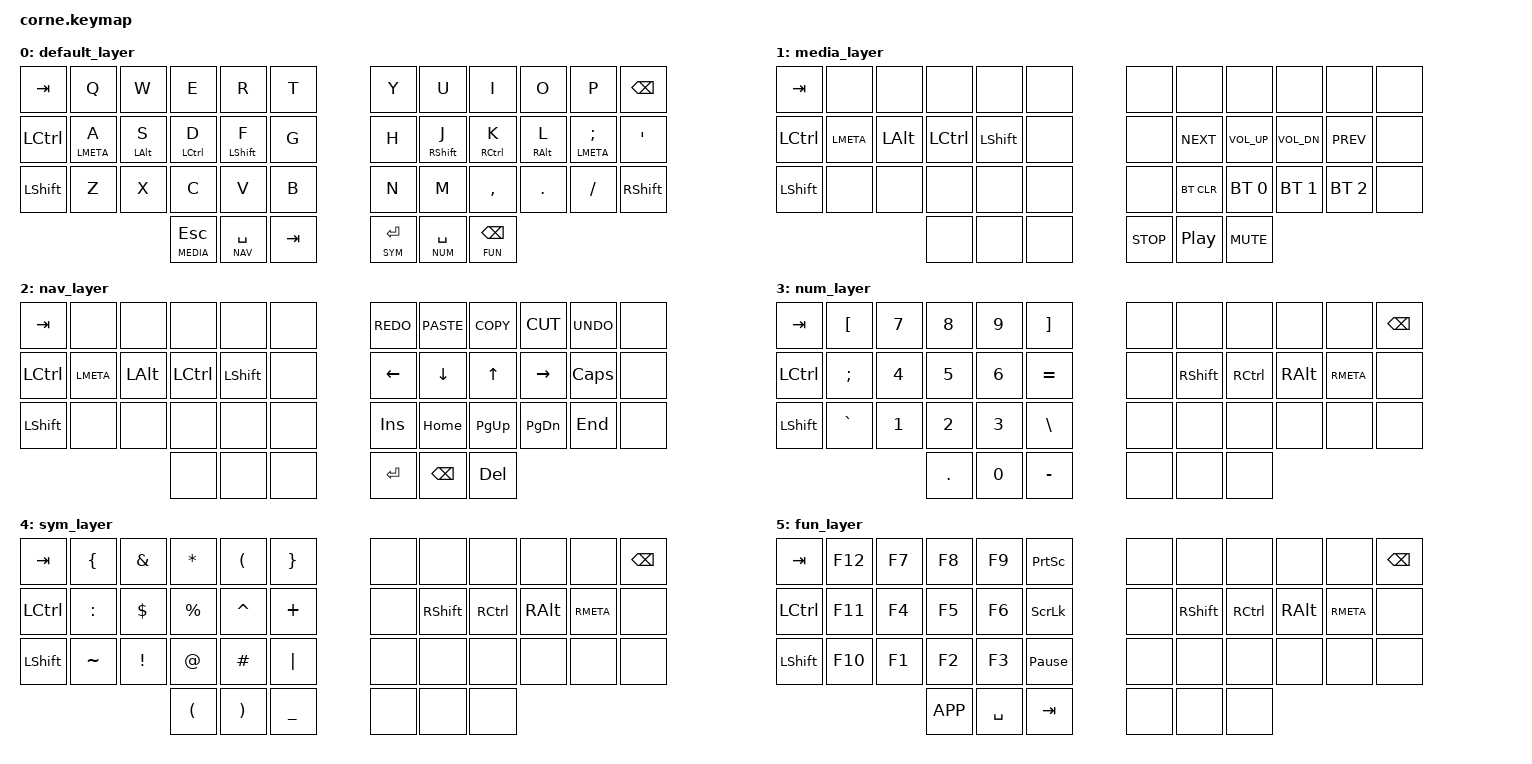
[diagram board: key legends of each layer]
/*
 * Copyright (c) 2020 The ZMK Contributors
 *
 * SPDX-License-Identifier: MIT
 */

#include <behaviors.dtsi>
#include <dt-bindings/zmk/keys.h>
#include <dt-bindings/zmk/bt.h>

#define MEDIA 1
#define NAV 2
#define NUM 3
#define SYM 4
#define FUN 5
#define U_TAPPING_TERM 200

/ {
      behaviors {
          u_mt: u_mt {
            compatible = "zmk,behavior-hold-tap";
            label = "u_mt";
            #binding-cells = <2>;
            tapping_term_ms = <U_TAPPING_TERM>;
            flavor = "tap-preferred";
            bindings = <&kp>, <&kp>;
          };
          u_lt: u_lt {
            compatible = "zmk,behavior-hold-tap";
            label = "u_lt";
            #binding-cells = <2>;
            tapping_term_ms = <U_TAPPING_TERM>;
            flavor = "tap-preferred";
            bindings = <&mo>, <&kp>;
          };
        };

        keymap {
                compatible = "zmk,keymap";

                default_layer {
// -----------------------------------------------------------------------------------------
// |  TAB |  Q  |  W  |  E  |  R  |  T  |   |  Y  |  U   |  I  |  O  |  P  | BKSP |
// | CTRL |  A  |  S  |  D  |  F  |  G  |   |  H  |  J   |  K  |  L  |  ;  |  '   |
// | SHFT |  Z  |  X  |  C  |  V  |  B  |   |  N  |  M   |  ,  |  .  |  /  | SHFT |
//                    | MED | SPC | TAB |   | ENT | BSP  | DEL |
                        bindings = <
   &kp TAB   &kp Q         &kp W      &kp E       &kp R        &kp T       &kp Y        &kp U         &kp I        &kp O      &kp P          &kp BSPC
   &kp LCTRL &u_mt LMETA A &u_mt LALT S &u_mt LCTRL D &u_mt LSHIFT F &kp G       &kp H       &u_mt RSHIFT J  &u_mt RCTRL K  &u_mt RALT L &u_mt LMETA SEMI &kp SQT
   &kp LSHFT &kp Z         &kp X      &kp C       &kp V        &kp B       &kp N        &kp M         &kp COMMA    &kp DOT    &kp FSLH       &kp RSHFT
                      &u_lt MEDIA ESC &u_lt NAV SPACE &kp TAB      &u_lt SYM RET &u_lt NUM SPC    &u_lt FUN BSPC
                        >;
                };
                media_layer {
// -----------------------------------------------------------------------------------------
// |  TAB |     |     |     |     |     |   |     |      |      |      |      |      |
// | CTRL | META| CTRL| ALT |SHIFT|     |   |     |NEXT  |VOL_UP|VOL_DN|PREV  |      |
// | SHFT |     |     |     |     |     |   |     |BTCLR | BT_0 | BT_1 | BT_2 |      |
//                    |     |     |     |   | stop|play/p| mute |
                        bindings = <
   &kp TAB     &none        &none        &none        &none       &none    &none       &none       &none           &none           &none         &none 
   &kp LCTRL   &kp LMETA    &kp LALT     &kp LCTRL    &kp LSHIFT  &none    &none       &kp C_NEXT  &kp C_VOL_UP    &kp C_VOL_DN    &kp C_PREV    &none 
   &kp LSHIFT  &none        &none        &none        &none       &none    &none       &bt BT_CLR  &bt BT_SEL 0    &bt BT_SEL 1    &bt BT_SEL 2  &none 
                          	             &none        &none       &none    &kp C_STOP  &kp C_PP  &kp K_MUTE 
                        >;
                };

                nav_layer {
// -----------------------------------------------------------------------------------------
// |  TAB |     |     |     |     |     |   | REDO| PASTE| COPY | CUT  | UNDO |      |
// | CTRL | META| CTRL| ALT |SHIFT|     |   | LEFT| DOWN | UP   | RIGHT| CAPS |      |
// | SHFT |     |     |     |     |     |   | INS | HOME | PGDWN| PG_UP| END |      |
//                    |     |     |     |   | ENT | BKSP| DEL |
                        bindings = <
   &kp TAB     &none     &none    &none     &none      &none       &kp K_REDO   &kp K_PASTE &kp K_COPY   &kp K_CUT   &kp K_UNDO &none 
   &kp LCTRL   &kp LMETA &kp LALT &kp LCTRL &kp LSHIFT &none       &kp LEFT     &kp DOWN    &kp UP       &kp RIGHT   &kp CAPS   &none 
   &kp LSHIFT  &none     &none    &none     &none      &none       &kp INS      &kp HOME    &kp PG_UP    &kp PG_DN   &kp END    &none 
                             &none      &none        &none        &kp RET      &kp BSPC   &kp DEL 
                        >;
                };

                num_layer {
// -----------------------------------------------------------------------------------------
// |  TAB | [/{ |  7  |  8  |  9  | ]/} |   |     |     |     |     |     | BKSP |
// | CTRL | :/; |  4  |  5  |  6  | +/= |   |     |shift| ctrl| alt | meta|      |
// | SHFT | ~/` |  1  |  2  |  3  | |/\ |   |     |     |     |     |     |      |
//                    | </, |  0  | -/_ |   |     |     |     |
                        bindings = <
   &kp TAB    &kp LBKT     &kp N7   &kp N8    &kp N9   &kp RBKT       &none    &none      &none     &none     &none     &kp BSPC
   &kp LCTRL  &kp SEMI     &kp N4   &kp N5    &kp N6   &kp EQUAL      &none    &kp RSHIFT &kp RCTRL &kp RALT  &kp RMETA &none  
   &kp LSHFT  &kp GRAVE    &kp N1   &kp N2    &kp N3   &kp BSLH       &none    &none      &none     &none     &none     &none 
                          	        &kp DOT   &kp N0   &kp MINUS      &none    &none      &none 
                        >;
                };

                sym_layer {
// -----------------------------------------------------------------------------------------
// |  TAB | { |  &  |  *  |  (  | } |   |     |     |     |     |     | BKSP |
// | CTRL | : |  $  |  %  |  ^  | + |   |     |shift| ctrl| alt | meta|      |
// | SHFT | ~ |  !  |  @  |  #  | | |   |     |     |     |     |     |      |
//                    | ( |  )  | _ |   |     |     |     |
                        bindings = <
   &kp TAB    &kp LBRC     &kp AMPS   &kp STAR   &kp LPAR   &kp RBRC       &none    &none      &none     &none     &none     &kp BSPC
   &kp LCTRL  &kp COLON    &kp DLLR   &kp PRCNT  &kp CARET  &kp PLUS      &none    &kp RSHIFT &kp RCTRL &kp RALT  &kp RMETA &none  
   &kp LSHFT  &kp TILDE    &kp EXCL   &kp AT     &kp HASH   &kp PIPE       &none    &none      &none     &none     &none     &none 
                          	        &kp LPAR   &kp RPAR   &kp UNDER      &none    &none      &none 
                        >;
                };

                fun_layer {
// -----------------------------------------------------------------------------------------
// |  TAB | F12 |  F7  |  F8  |  F9  | PSCRN |   |     |     |     |     |     | BKSP |
// | CTRL | F11 |  F4  |  F5  |  F6  | SLCK  |   |     |shift| ctrl| alt | meta|      |
// | SHFT | F10 |  F1  |  F2  |  F3  | Pause |   |     |     |     |     |     |      |
//                     | app  |  SPC |  TAB  |   |     |     |     |
                        bindings = <
   &kp TAB    &kp F12    &kp F7  &kp F8  &kp F9  &kp PSCRN          &none    &none      &none     &none     &none     &kp BSPC
   &kp LCTRL  &kp F11    &kp F4  &kp F5  &kp F6  &kp SLCK           &none    &kp RSHIFT &kp RCTRL &kp RALT  &kp RMETA &none  
   &kp LSHFT  &kp F10    &kp F1  &kp F2  &kp F3  &kp PAUSE_BREAK    &none    &none      &none     &none     &none     &none 
                          	        &kp K_APP   &kp SPACE   &kp TAB      &none    &none      &none 
                        >;
                };

/*                 lower_layer { */
/* // ----------------------------------------------------------------------------------------- */
/* // |  TAB |  1  |  2  |  3  |  4  |  5  |   |  6  |  7  |  8  |  9  |  0  | BKSP | */
/* // | BTCLR| BT1 | BT2 | BT3 | BT4 | BT5 |   | LFT | DWN |  UP | RGT |     |      | */
/* // | SHFT |     |     |     |     |     |   |     |     |     |     |     |      | */
/* //                    | GUI |     | SPC |   | ENT |     | ALT | */
/*                         bindings = < */
/*    &kp TAB    &kp N1       &kp N2       &kp N3       &kp N4       &kp N5         &kp N6   &kp N7   &kp N8 &kp N9    &kp N0 &kp BSPC */
/*    &bt BT_CLR &bt BT_SEL 0 &bt BT_SEL 1 &bt BT_SEL 2 &bt BT_SEL 3 &bt BT_SEL 4   &kp LEFT &kp DOWN &kp UP &kp RIGHT &trans &trans */
/*    &kp LSHFT  &trans       &trans       &trans       &trans       &trans         &trans   &trans   &trans &trans    &trans &trans */
/*                           	        &kp LGUI     &trans       &kp SPACE      &kp RET  &trans   &kp RALT */
/*                         >; */
/*                 }; */

/*                 raise_layer { */
/* // ----------------------------------------------------------------------------------------- */
/* // |  TAB |  !  |  @  |  #  |  $  |  %  |   |  ^  |  &  |  *  |  (  |  )  | BKSP | */
/* // | CTRL |     |     |     |     |     |   |  -  |  =  |  [  |  ]  |  \  |  `   | */
/* // | SHFT |     |     |     |     |     |   |  _  |  +  |  {  |  }  | "|" |  ~   | */
/* //                    | GUI |     | SPC |   | ENT |     | ALT | */
/*                         bindings = < */
/*    &kp  TAB  &kp EXCL &kp AT &kp HASH &kp DLLR &kp PRCNT   &kp CARET &kp AMPS  &kp KP_MULTIPLY &kp LPAR &kp RPAR &kp BSPC */
/*    &kp LCTRL &trans   &trans &trans   &trans   &trans      &kp MINUS &kp EQUAL &kp LBKT        &kp RBKT &kp BSLH &kp GRAVE */
/*    &kp LSHFT &trans   &trans &trans   &trans   &trans      &kp UNDER &kp PLUS  &kp LBRC        &kp RBRC &kp PIPE &kp TILDE */
/*                     	     &kp LGUI &trans   &kp SPACE   &kp RET   &trans    &kp RALT */
/*                         >; */
/*                 }; */

/*                 nav_layer { */
/* // ----------------------------------------------------------------------------------------- */
/* // |  TAB |     |     |     |     |     |   | REDO| PASTE| COPY | CUT  | UNDO |      | */
/* // | CTRL | META| CTRL| ALT |SHIFT|     |   | LEFT| DOWN | UP   | RIGHT| CAPS |      | */
/* // | SHFT |     |     |     |     |     |   | INS | HOME | PGDWN| PG_UP| END |      | */
/* //                    |     |     |     |   | ENT | BKSP| DEL | */
/*                         bindings = < */
/*    &kp TAB    &trans    &trans   &trans    &trans     &trans      &kp K_REDO   &kp K_PASTE &kp K_COPY   &kp K_CUT   &kp K_UNDO &trans */
/*    &kp CTRL   &kp LMETA &kp LALT &kp LCTRL &kp LSHIFT &trans      &kp LEFT     &kp DOWN    &kp UP       &kp RIGHT   &kp CAPS   &trans */
/*    &kp LSHFT  &trans    &trans   &trans    &trans     &trans      &kp INS      &kp HOME    &kp PG_UP    &kp PG_DN   &kp END    &trans */
/*                              &trans     &trans       &trans       &kp RET      &kp BSPC   &kp DEL  */
/*                         >; */
/*                 }; */
        };
};
